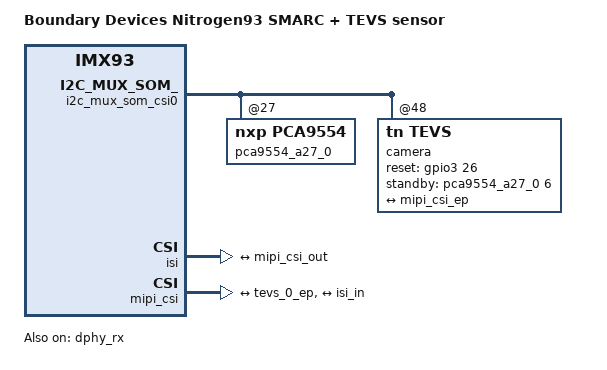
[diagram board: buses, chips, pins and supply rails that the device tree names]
// SPDX-License-Identifier: (GPL-2.0+ OR MIT)
/*
 * Copyright 2024 Ezurio LLC
 */

#include "imx93-nitrogen-smarc.dts"

/ {
	model = "Boundary Devices Nitrogen93 SMARC + TEVS sensor";
	compatible = "fsl,imx93-nitrogen-smarc-tevs", "fsl,imx93";
};

&dphy_rx {
	status = "okay";
};

&i2c_mux_som_csi0 {
	pca9554_a27_0: pca9554@27 {
		compatible = "nxp,pca9554";
		pinctrl-names = "default";
		reg = <0x27>;
		gpio-controller;
		#gpio-cells = <2>;
		status = "okay";
		gpio-line-names = "EXPOSURE_TRIG_IN0", "FLASH_OUT0",
				"CAM_SHUTTER0", "XVS0",	"CSI0_PDB",
				"CSI0_INT", "INFO_TRIG_IN0", "CSI0_RST_N";
	};

	camera@48 {
		compatible = "tn,tevs";
		reg = <0x48>;
		reset-gpios = <&gpio3 26 GPIO_ACTIVE_HIGH>;
		standby-gpios = <&pca9554_a27_0 6 GPIO_ACTIVE_HIGH>;
		data-lanes = <2>;
		data-frequency = <800>;
		continuous-clock = <0>;
		status = "okay";

		port {
			tevs_0_ep: endpoint {
				remote-endpoint = <&mipi_csi_ep>;
			};
		};
	};
};

&isi {
	status = "okay";

	port {
		isi_in: endpoint {
			remote-endpoint = <&mipi_csi_out>;
		};
	};
};

&mipi_csi {
	status = "okay";

	ports {
		#address-cells = <1>;
		#size-cells = <0>;

		port@0 {
			reg = <0>;

			mipi_csi_ep: endpoint {
				remote-endpoint = <&tevs_0_ep>;
				data-lanes = <1 2>;
				clock-lanes = <0>;
			};
		};

		port@1 {
			reg = <1>;

			mipi_csi_out: endpoint {
				remote-endpoint = <&isi_in>;
			};
		};
	};
};
